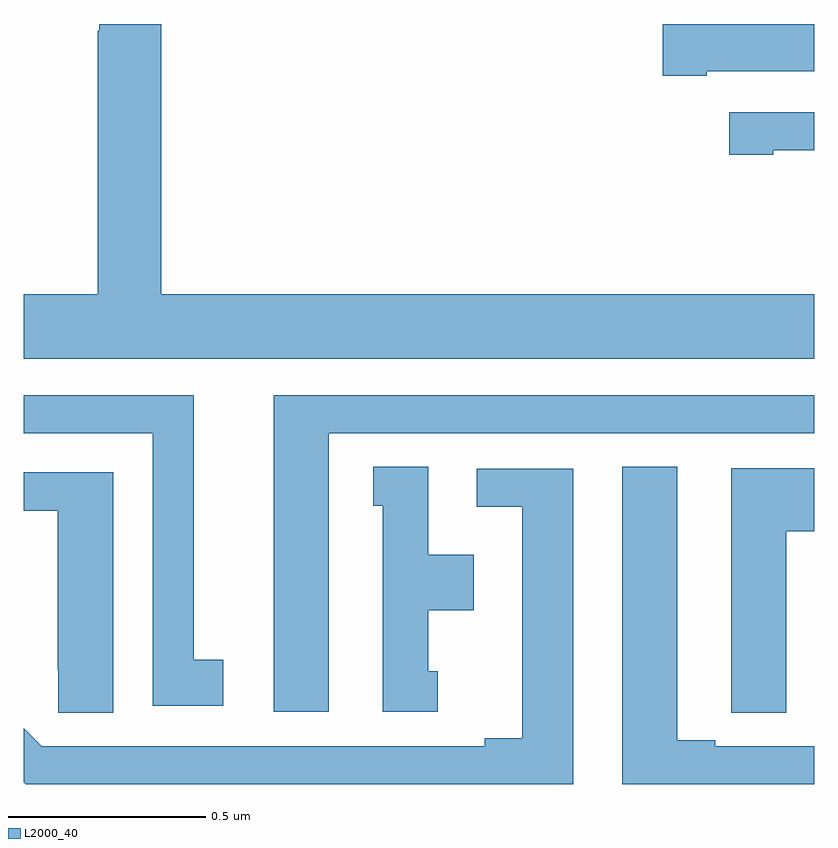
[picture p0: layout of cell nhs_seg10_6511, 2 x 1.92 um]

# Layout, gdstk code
import gdstk
lib = gdstk.Library(unit=1e-6, precision=1e-09)
def P(c, l, *ps):  # polygons
    for p in ps: c.add(gdstk.Polygon(p, *l))
L2000_40 = (2000, 40)

nhs_seg10_6511 = lib.new_cell('nhs_seg10_6511')
P(nhs_seg10_6511, L2000_40, [(194,1297.816),(192.347,1297.816),(192.347,1298.5),(192.191,1298.5),(192.191,1298.483),(192.187,1298.483),(192.187,1297.816),(192,1297.816),(192,1297.652),(194,1297.652)],
  [(193.729,1298.381),(194,1298.381),(194,1298.5),(193.617,1298.5),(193.617,1298.369),(193.729,1298.369)],
  [(193.897,1298.181),(194,1298.181),(194,1298.277),(193.785,1298.277),(193.785,1298.169),(193.897,1298.169)],
  [(192.505,1296.89),(192.43,1296.89),(192.43,1297.56),(192,1297.56),(192,1297.464),(192.326,1297.464),(192.326,1296.774),(192.505,1296.774)],
  [(192.772,1297.464),(194,1297.464),(194,1297.56),(192.632,1297.56),(192.632,1296.759),(192.772,1296.759)],
  [(194,1296.672),(193.75,1296.672),(193.75,1296.687),(193.654,1296.687),(193.654,1297.379),(193.514,1297.379),(193.514,1296.576),(194,1296.576)],
  [(193.048,1296.861),(193.024,1296.861),(193.024,1297.016),(193.138,1297.016),(193.138,1297.156),(193.024,1297.156),(193.024,1297.379),(192.884,1297.379),(192.884,1297.281),(192.908,1297.281),(192.908,1296.759),(193.048,1296.759)],
  [(193.93,1297.216),(194,1297.216),(194,1297.375),(193.79,1297.375),(193.79,1296.865),(193.791,1296.865),(193.791,1296.757),(193.93,1296.757)],
  [(193.39,1297.374),(193.146,1297.374),(193.146,1297.278),(193.262,1297.278),(193.262,1296.692),(193.166,1296.692),(193.166,1296.672),(192.045,1296.672),(192,1296.717),(192,1296.581),(192.005,1296.576),(193.39,1296.576)],
  [(192.226,1297.365),(192,1297.365),(192,1297.268),(192.086,1297.268),(192.086,1296.865),(192.087,1296.865),(192.087,1296.757),(192.226,1296.757)])

lib.write_gds('nhs_seg10_6511.gds')
